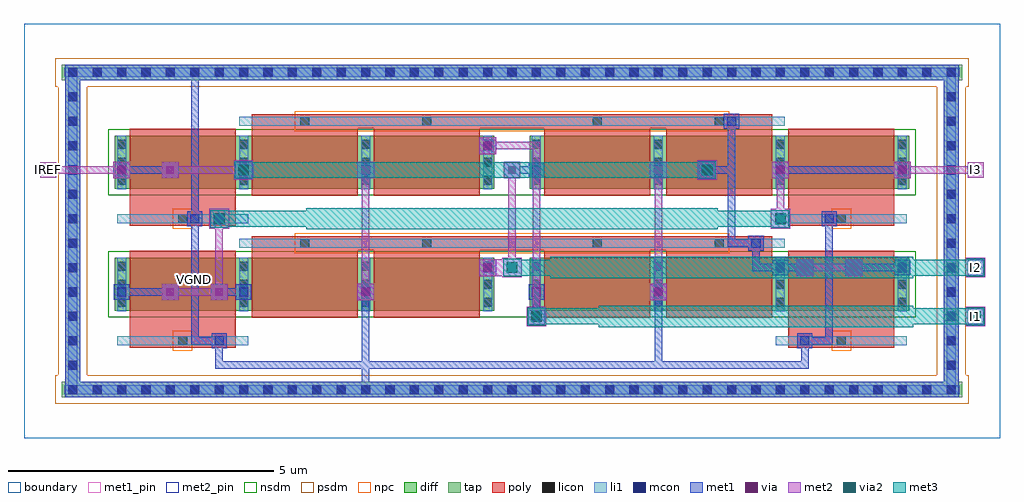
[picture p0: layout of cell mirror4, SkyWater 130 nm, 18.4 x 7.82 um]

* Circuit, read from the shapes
.subckt mirror4 I1 I2 I3 IREF VGND
XM1 I3 VGND I3 VGND sky130_fd_pr__nfet_01v8 w=1 l=2 m=2
XM2 IREF VGND IREF VGND sky130_fd_pr__nfet_01v8 w=1 l=2 m=2
XM3 VGND IREF I3 VGND sky130_fd_pr__nfet_01v8 w=1 l=2 m=2
XM4 VGND IREF IREF VGND sky130_fd_pr__nfet_01v8 w=1 l=2 m=2
XM5 I2 IREF VGND VGND sky130_fd_pr__nfet_01v8 w=1 l=2 m=2
XM6 I1 IREF VGND VGND sky130_fd_pr__nfet_01v8 w=1 l=2 m=2
.ends

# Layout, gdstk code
import gdstk
lib = gdstk.Library(unit=1e-6, precision=1e-09)
def R(c, l, rs):  # rectangles x0, y0, x1, y1
    for r in rs: c.add(gdstk.rectangle(r[:2], r[2:], *l))
def A(c, l, x, y, w, h, nx, ny, dx, dy):  # array of equal rectangles
    R(c, l, [(x+i*dx, y+j*dy, x+i*dx+w, y+j*dy+h) for i in range(nx) for j in range(ny)])
diff = (65, 20)
tap = (65, 44)
poly = (66, 20)
licon = (66, 44)
li1 = (67, 20)
mcon = (67, 44)
met1_pin = (68, 16)
met1 = (68, 20)
via = (68, 44)
met2_pin = (69, 16)
met2 = (69, 20)
via2 = (69, 44)
met3 = (70, 20)
nsdm = (93, 44)
psdm = (94, 20)
npc = (95, 20)
boundary = (235, 4)

mirror4 = lib.new_cell('mirror4')
R(mirror4, diff, [(1.715,2.405,8.865,3.405), (9.535,2.405,16.685,3.405), (1.715,4.705,8.865,5.705), (9.535,4.705,16.685,5.705)])
R(mirror4, tap, [(0.715,0.775,17.685,1.065), (0.775,0.775,1.065,7.045), (17.335,0.775,17.625,7.045), (0.715,6.755,17.685,7.045)])
R(mirror4, poly, [(1.99,1.705,3.99,1.975), (14.41,1.705,16.41,1.975), (1.99,1.84,3.99,3.535), (14.41,1.84,16.41,3.535), (4.29,2.275,6.29,3.68), (6.59,2.275,8.59,3.68), (9.81,2.275,11.81,3.68), (12.11,2.275,14.11,3.68), (4.29,3.545,14.11,3.815), (1.99,4.005,3.99,4.275), (14.41,4.005,16.41,4.275), (1.99,4.14,3.99,5.835), (14.41,4.14,16.41,5.835), (4.29,4.575,6.29,5.98), (6.59,4.575,8.59,5.98), (9.81,4.575,11.81,5.98), (12.11,4.575,14.11,5.98), (4.29,5.845,14.11,6.115)])
A(mirror4, licon, 0.835, 0.835, 0.17, 0.17, 37, 2, 0.46, 5.98)
A(mirror4, licon, 0.835, 1.295, 0.17, 0.17, 1, 12, 0, 0.46)
A(mirror4, licon, 17.395, 1.295, 0.17, 0.17, 1, 12, 0, 0.46)
A(mirror4, licon, 1.755, 2.48, 0.17, 0.17, 4, 3, 2.3, 0.34)
A(mirror4, licon, 9.575, 2.48, 0.17, 0.17, 4, 3, 2.3, 0.34)
A(mirror4, licon, 1.755, 4.78, 0.17, 0.17, 4, 3, 2.3, 0.34)
A(mirror4, licon, 9.575, 4.78, 0.17, 0.17, 4, 3, 2.3, 0.34)
R(mirror4, licon, [(2.905,1.755,3.075,1.925), (15.325,1.755,15.495,1.925), (5.205,3.595,5.375,3.765), (7.505,3.595,7.675,3.765), (10.725,3.595,10.895,3.765), (13.025,3.595,13.195,3.765), (2.905,4.055,3.075,4.225), (15.325,4.055,15.495,4.225), (5.205,5.895,5.375,6.065), (7.505,5.895,7.675,6.065), (10.725,5.895,10.895,6.065), (13.025,5.895,13.195,6.065)])
A(mirror4, li1, 1.755, 2.4, 0.17, 1.01, 4, 2, 2.3, 2.3)
A(mirror4, li1, 9.575, 2.4, 0.17, 1.01, 4, 2, 2.3, 2.3)
R(mirror4, li1, [(0.755,0.835,17.645,1.005), (0.835,0.835,1.005,6.985), (17.395,0.835,17.565,6.985), (1.755,1.755,4.225,1.925), (14.175,1.755,16.645,1.925), (4.055,3.595,14.345,3.765), (1.755,4.055,4.225,4.225), (14.175,4.055,16.645,4.225), (4.055,5.895,14.345,6.065), (0.755,6.815,17.645,6.985)])
A(mirror4, mcon, 0.835, 0.835, 0.17, 0.17, 37, 2, 0.46, 5.98)
A(mirror4, mcon, 0.835, 1.295, 0.17, 0.17, 1, 12, 0, 0.46)
A(mirror4, mcon, 17.395, 1.295, 0.17, 0.17, 1, 12, 0, 0.46)
A(mirror4, mcon, 1.755, 2.675, 0.17, 0.17, 3, 2, 2.3, 2.3)
A(mirror4, mcon, 9.575, 4.975, 0.17, 0.17, 4, 1, 2.3, 0)
R(mirror4, mcon, [(3.595,1.755,3.765,1.925), (14.635,1.755,14.805,1.925), (9.575,2.675,9.745,2.845), (11.875,2.675,12.045,2.845), (8.655,3.135,8.825,3.305), (14.175,3.135,14.345,3.305), (16.475,3.135,16.645,3.305), (13.715,3.595,13.885,3.765), (3.135,4.055,3.305,4.225), (15.095,4.055,15.265,4.225), (8.655,5.435,8.825,5.605), (13.255,5.895,13.425,6.065)])
R(mirror4, met1_pin, [(3.15,1.77,3.29,4.21)])
A(mirror4, met1, 1.695, 2.615, 0.29, 0.29, 3, 2, 2.3, 2.3)
A(mirror4, met1, 6.28, 4.9, 0.32, 0.32, 3, 1, 2.76, 0)
A(mirror4, met1, 9.515, 4.915, 0.29, 0.29, 4, 1, 2.3, 0)
R(mirror4, met1, [(0.775,0.775,17.625,1.065), (0.775,0.775,1.065,7.045), (17.335,0.775,17.625,7.045), (6.37,0.85,6.51,0.99), (6.37,0.85,6.51,2.83), (3.61,1.31,3.75,1.91), (3.61,1.31,6.51,1.45), (6.37,1.31,12.03,1.45), (11.89,1.31,14.79,1.45), (11.89,1.31,12.03,2.83), (14.65,1.31,14.79,1.91), (3.535,1.695,3.825,1.985), (14.575,1.695,14.865,1.985), (3.15,1.77,3.75,1.91), (3.15,1.77,3.29,4.21), (14.65,1.77,15.25,1.91), (15.11,1.77,15.25,4.21), (9.5,2.14,9.82,2.46), (9.59,2.23,9.73,2.83), (2.6,2.6,2.92,2.92), (3.52,2.6,3.84,2.92), (6.28,2.6,6.6,2.92), (11.8,2.6,12.12,2.92), (9.515,2.615,9.805,2.905), (11.815,2.615,12.105,2.905), (1.77,2.69,2.83,2.83), (3.61,2.69,4.21,2.83), (8.58,3.06,8.9,3.38), (14.56,3.06,14.88,3.38), (15.48,3.06,15.8,3.38), (8.595,3.075,8.885,3.365), (14.115,3.075,14.405,3.365), (16.415,3.075,16.705,3.365), (13.73,3.15,14.33,3.29), (13.73,3.15,13.87,3.75), (14.19,3.15,14.79,3.29), (15.57,3.15,16.63,3.29), (13.655,3.535,13.945,3.825), (13.27,3.61,13.87,3.75), (13.27,3.61,13.41,6.05), (3.075,3.995,3.365,4.285), (15.035,3.995,15.325,4.285), (3.15,4.07,3.29,6.97), (1.68,4.9,2,5.22), (2.6,4.9,2.92,5.22), (3.98,4.9,4.3,5.22), (12.72,4.9,13.04,5.22), (14.1,4.9,14.42,5.22), (16.4,4.9,16.72,5.22), (1.77,4.99,2.83,5.13), (9.13,4.99,9.73,5.13), (12.81,4.99,13.41,5.13), (14.19,4.99,16.63,5.13), (8.58,5.36,8.9,5.68), (8.595,5.375,8.885,5.665), (13.195,5.835,13.485,6.125), (0.775,6.755,17.625,7.045), (3.15,6.83,3.29,6.97)])
A(mirror4, via, 6.365, 4.985, 0.15, 0.15, 3, 1, 2.76, 0)
R(mirror4, via, [(9.585,2.225,9.735,2.375), (2.685,2.685,2.835,2.835), (3.605,2.685,3.755,2.835), (6.365,2.685,6.515,2.835), (11.885,2.685,12.035,2.835), (8.665,3.145,8.815,3.295), (14.645,3.145,14.795,3.295), (15.565,3.145,15.715,3.295), (1.765,4.985,1.915,5.135), (2.685,4.985,2.835,5.135), (4.065,4.985,4.215,5.135), (12.805,4.985,12.955,5.135), (14.185,4.985,14.335,5.135), (16.485,4.985,16.635,5.135), (8.665,5.445,8.815,5.595)])
R(mirror4, met2_pin, [(17.79,2.15,18.09,2.45), (17.79,3.07,18.09,3.37), (0.31,4.91,0.61,5.21), (17.79,4.91,18.09,5.21)])
A(mirror4, met2, 6.28, 4.9, 0.32, 0.32, 3, 1, 2.76, 0)
R(mirror4, met2, [(9.475,2.115,9.845,2.485), (17.755,2.115,18.125,2.485), (9.5,2.14,9.82,2.46), (17.79,2.15,18.09,2.45), (9.59,2.23,9.73,5.59), (17.87,2.23,18.01,2.37), (2.6,2.6,2.92,2.92), (3.52,2.6,3.84,2.92), (6.28,2.6,6.6,2.92), (11.8,2.6,12.12,2.92), (2.69,2.69,3.75,2.83), (3.61,2.69,3.75,4.21), (6.37,2.69,6.51,5.13), (11.89,2.69,12.03,5.13), (9.015,3.035,9.385,3.405), (17.755,3.035,18.125,3.405), (8.58,3.06,8.9,3.38), (8.9,3.06,9.015,3.38), (14.56,3.06,14.88,3.38), (15.48,3.06,15.8,3.38), (17.79,3.07,18.09,3.37), (8.67,3.15,9.27,3.29), (9.13,3.15,9.27,5.13), (14.65,3.15,15.71,3.29), (17.87,3.15,18.01,3.29), (3.495,3.955,3.865,4.325), (14.075,3.955,14.445,4.325), (14.19,4.07,14.33,5.13), (3.955,4.875,4.325,5.245), (12.695,4.875,13.065,5.245), (1.68,4.9,2,5.22), (2.6,4.9,2.92,5.22), (3.98,4.9,4.3,5.22), (12.72,4.9,13.04,5.22), (14.1,4.9,14.42,5.22), (16.4,4.9,16.72,5.22), (0.31,4.91,0.61,5.21), (17.79,4.91,18.09,5.21), (0.39,4.99,0.53,5.13), (0.39,4.99,1.91,5.13), (2.69,4.99,4.21,5.13), (16.49,4.99,18.01,5.13), (17.87,4.99,18.01,5.13), (8.58,5.36,8.9,5.68), (8.67,5.45,9.73,5.59)])
R(mirror4, via2, [(9.56,2.2,9.76,2.4), (17.84,2.2,18.04,2.4), (9.1,3.12,9.3,3.32), (17.84,3.12,18.04,3.32), (3.58,4.04,3.78,4.24), (14.16,4.04,14.36,4.24), (4.04,4.96,4.24,5.16), (12.78,4.96,12.98,5.16)])
R(mirror4, met3, [(10.84,2.1,16.76,2.5), (9.495,2.135,9.825,2.465), (17.775,2.135,18.105,2.465), (9.51,2.15,11.19,2.45), (16.41,2.15,18.09,2.45), (9.92,3.02,16.76,3.42), (9.035,3.055,9.365,3.385), (17.775,3.055,18.105,3.385), (9.05,3.07,10.27,3.37), (16.41,3.07,18.09,3.37), (5.32,3.94,13.08,4.34), (3.515,3.975,3.845,4.305), (14.095,3.975,14.425,4.305), (3.53,3.99,5.67,4.29), (12.73,3.99,14.41,4.29), (3.975,4.895,4.305,5.225), (12.715,4.895,13.045,5.225), (3.99,4.91,13.03,5.21)])
R(mirror4, nsdm, [(1.59,2.28,16.81,3.53), (1.59,4.58,16.81,5.83)])
R(mirror4, psdm, [(0.59,0.65,17.81,1.19), (0.65,1.19,1.19,6.63), (17.21,1.19,17.75,6.63), (0.59,6.63,17.81,7.17)])
R(mirror4, npc, [(2.805,1.655,3.175,2.025), (15.225,1.655,15.595,2.025), (5.105,3.495,13.295,3.865), (2.805,3.955,3.175,4.325), (15.225,3.955,15.595,4.325), (5.105,5.795,13.295,6.165)])
R(mirror4, boundary, [(0,0,18.4,7.82)])
mirror4.add(gdstk.Label('VGND', (3.22,2.99), layer=68, texttype=5))
mirror4.add(gdstk.Label('IREF', (0.46,5.06), layer=69, texttype=5))
mirror4.add(gdstk.Label('I1', (17.94,2.3), layer=69, texttype=5))
mirror4.add(gdstk.Label('I2', (17.94,3.22), layer=69, texttype=5))
mirror4.add(gdstk.Label('I3', (17.94,5.06), layer=69, texttype=5))
mirror4.add(gdstk.Label('VGND', (3.22,2.99), layer=68, texttype=16))
mirror4.add(gdstk.Label('IREF', (0.46,5.06), layer=69, texttype=16))
mirror4.add(gdstk.Label('I1', (17.94,2.3), layer=69, texttype=16))
mirror4.add(gdstk.Label('I2', (17.94,3.22), layer=69, texttype=16))
mirror4.add(gdstk.Label('I3', (17.94,5.06), layer=69, texttype=16))

lib.write_gds('mirror4.gds')
